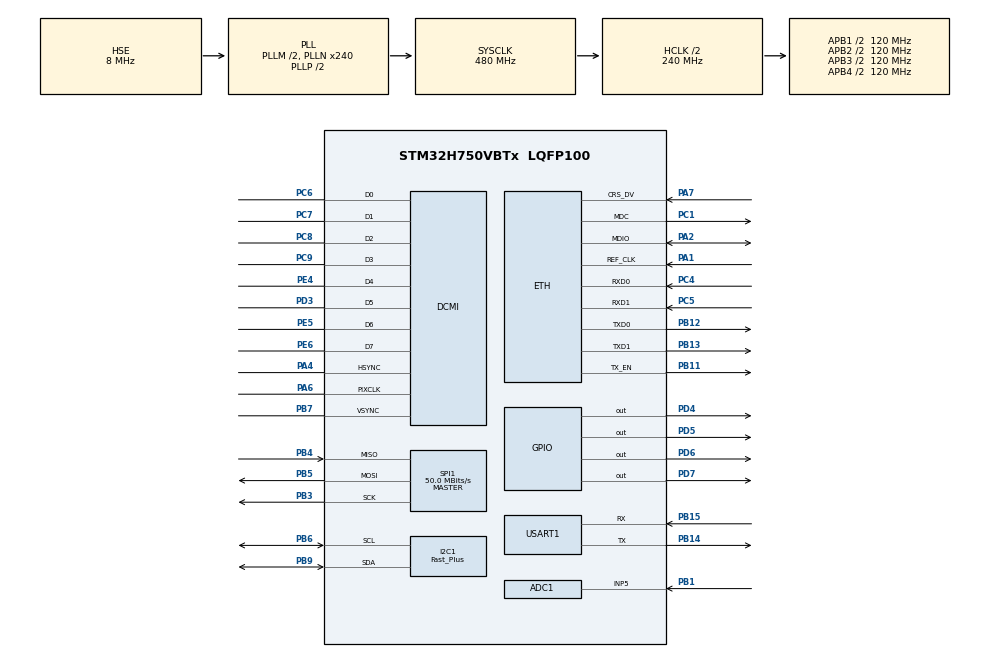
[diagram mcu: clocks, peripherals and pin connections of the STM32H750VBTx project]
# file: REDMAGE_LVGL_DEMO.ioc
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ADC1.Channel-0\#ChannelRegularConversion=ADC_CHANNEL_5
ADC1.ExternalTrigConv=ADC_EXTERNALTRIG_T2_TRGO
ADC1.NbrOfConversion=1
ADC1.NbrOfConversionFlag=1
ADC1.OffsetNumber-0\#ChannelRegularConversion=ADC_OFFSET_NONE
ADC1.OffsetSignedSaturation-0\#ChannelRegularConversion=DISABLE
ADC1.Rank-0\#ChannelRegularConversion=1
ADC1.SamplingTime-0\#ChannelRegularConversion=ADC_SAMPLETIME_1CYCLE_5
ADC1.master=1
CORTEX_M7.default_mode_Activation=1
Dma.Request0=SPI1_TX
Dma.SPI1_TX.0.Direction=DMA_MEMORY_TO_PERIPH
Dma.SPI1_TX.0.EventEnable=DISABLE
Dma.SPI1_TX.0.FIFOMode=DMA_FIFOMODE_DISABLE
Dma.SPI1_TX.0.Instance=DMA1_Stream0
Dma.SPI1_TX.0.MemDataAlignment=DMA_MDATAALIGN_BYTE
Dma.SPI1_TX.0.MemInc=DMA_MINC_ENABLE
Dma.SPI1_TX.0.Mode=DMA_NORMAL
Dma.SPI1_TX.0.PeriphDataAlignment=DMA_PDATAALIGN_BYTE
Dma.SPI1_TX.0.PeriphInc=DMA_PINC_DISABLE
Dma.SPI1_TX.0.Polarity=HAL_DMAMUX_REQ_GEN_RISING
Dma.SPI1_TX.0.Priority=DMA_PRIORITY_LOW
Dma.SPI1_TX.0.RequestNumber=1
Dma.SPI1_TX.0.SignalID=NONE
Dma.SPI1_TX.0.SyncEnable=DISABLE
Dma.SPI1_TX.0.SyncPolarity=HAL_DMAMUX_SYNC_NO_EVENT
Dma.SPI1_TX.0.SyncRequestNumber=1
Dma.SPI1_TX.0.SyncSignalID=NONE
ETH.MediaInterface=HAL_ETH_RMII_MODE
I2C1.I2C_Speed_Mode=I2C_Fast_Plus
I2C1.Timing=0x0050174F
Mcu.Family=STM32H7
Mcu.Name=STM32H750VBTx
Mcu.Package=LQFP100
NVIC.DMA1_Stream0_IRQn=true\:0\:0\:false\:false\:true\:false\:true\:true
NVIC.PriorityGroup=NVIC_PRIORITYGROUP_4
NVIC.SPI1_IRQn=true\:0\:0\:false\:false\:true\:false\:true\:true
NVIC.TIM3_IRQn=true\:0\:0\:false\:false\:true\:true\:true\:true
PA1.GPIO_Speed=GPIO_SPEED_FREQ_VERY_HIGH
PA1.Mode=RMII
PA1.Signal=ETH_REF_CLK
PA2.GPIO_Speed=GPIO_SPEED_FREQ_VERY_HIGH
PA2.Mode=RMII
PA2.Signal=ETH_MDIO
PA4.Mode=Slave_8_bits_External_Synchro
PA4.Signal=DCMI_HSYNC
PA6.Mode=Slave_8_bits_External_Synchro
PA6.Signal=DCMI_PIXCLK
PA7.GPIO_Speed=GPIO_SPEED_FREQ_VERY_HIGH
PA7.Mode=RMII
PA7.Signal=ETH_CRS_DV
PB1.Signal=ADCx_INP5
PB11.GPIO_Speed=GPIO_SPEED_FREQ_VERY_HIGH
PB11.Mode=RMII
PB11.Signal=ETH_TX_EN
PB12.GPIO_Speed=GPIO_SPEED_FREQ_VERY_HIGH
PB12.Mode=RMII
PB12.Signal=ETH_TXD0
PB13.GPIO_Speed=GPIO_SPEED_FREQ_VERY_HIGH
PB13.Mode=RMII
PB13.Signal=ETH_TXD1
PB14.GPIO_Speed=GPIO_SPEED_FREQ_VERY_HIGH
PB14.Mode=Asynchronous
PB14.Signal=USART1_TX
PB15.GPIO_Speed=GPIO_SPEED_FREQ_VERY_HIGH
PB15.Mode=Asynchronous
PB15.Signal=USART1_RX
PB3\ (JTDO/TRACESWO).GPIO_Speed=GPIO_SPEED_FREQ_VERY_HIGH
PB3\ (JTDO/TRACESWO).Mode=Full_Duplex_Master
PB3\ (JTDO/TRACESWO).Signal=SPI1_SCK
PB4\ (NJTRST).GPIO_Speed=GPIO_SPEED_FREQ_VERY_HIGH
PB4\ (NJTRST).Mode=Full_Duplex_Master
PB4\ (NJTRST).Signal=SPI1_MISO
PB5.GPIO_Speed=GPIO_SPEED_FREQ_VERY_HIGH
PB5.Mode=Full_Duplex_Master
PB5.Signal=SPI1_MOSI
PB6.GPIO_Speed=GPIO_SPEED_FREQ_VERY_HIGH
PB6.Mode=I2C
PB6.Signal=I2C1_SCL
PB7.Mode=Slave_8_bits_External_Synchro
PB7.Signal=DCMI_VSYNC
PB9.GPIO_Speed=GPIO_SPEED_FREQ_VERY_HIGH
PB9.Mode=I2C
PB9.Signal=I2C1_SDA
PC1.GPIO_Speed=GPIO_SPEED_FREQ_VERY_HIGH
PC1.Mode=RMII
PC1.Signal=ETH_MDC
PC4.GPIO_Speed=GPIO_SPEED_FREQ_VERY_HIGH
PC4.Mode=RMII
PC4.Signal=ETH_RXD0
PC5.GPIO_Speed=GPIO_SPEED_FREQ_VERY_HIGH
PC5.Mode=RMII
PC5.Signal=ETH_RXD1
PC6.Mode=Slave_8_bits_External_Synchro
PC6.Signal=DCMI_D0
PC7.Mode=Slave_8_bits_External_Synchro
PC7.Signal=DCMI_D1
PC8.Mode=Slave_8_bits_External_Synchro
PC8.Signal=DCMI_D2
PC9.Mode=Slave_8_bits_External_Synchro
PC9.Signal=DCMI_D3
PD3.Mode=Slave_8_bits_External_Synchro
PD3.Signal=DCMI_D5
PD4.GPIO_Speed=GPIO_SPEED_FREQ_VERY_HIGH
PD4.Signal=GPIO_Output
PD5.GPIO_Speed=GPIO_SPEED_FREQ_VERY_HIGH
PD5.Signal=GPIO_Output
PD6.GPIO_Speed=GPIO_SPEED_FREQ_VERY_HIGH
PD6.Signal=GPIO_Output
PD7.GPIO_Speed=GPIO_SPEED_FREQ_VERY_HIGH
PD7.Signal=GPIO_Output
PE4.Mode=Slave_8_bits_External_Synchro
PE4.Signal=DCMI_D4
PE5.Mode=Slave_8_bits_External_Synchro
PE5.Signal=DCMI_D6
PE6.Mode=Slave_8_bits_External_Synchro
PE6.Signal=DCMI_D7
PH0-OSC_IN\ (PH0).Mode=HSE-External-Oscillator
PH0-OSC_IN\ (PH0).Signal=RCC_OSC_IN
PH1-OSC_OUT\ (PH1).Mode=HSE-External-Oscillator
PH1-OSC_OUT\ (PH1).Signal=RCC_OSC_OUT
ProjectManager.HeapSize=0x200
ProjectManager.StackSize=0x400
ProjectManager.TargetToolchain=Makefile
RCC.ADCCLockSelection=RCC_ADCCLKSOURCE_PLL3
RCC.ADCFreq_Value=100000000
RCC.APB1Freq_Value=120000000
RCC.APB2Freq_Value=120000000
RCC.APB3Freq_Value=120000000
RCC.APB4Freq_Value=120000000
RCC.CortexFreq_Value=480000000
RCC.D1PPRE=RCC_APB3_DIV2
RCC.D2PPRE1=RCC_APB1_DIV2
RCC.D2PPRE2=RCC_APB2_DIV2
RCC.D3PPRE=RCC_APB4_DIV2
RCC.DIVM1=2
RCC.DIVM2=3
RCC.DIVM3=4
RCC.DIVN1=240
RCC.DIVN2=150
RCC.DIVN3=100
RCC.DIVQ1=1
RCC.HCLKFreq_Value=240000000
RCC.HPRE=RCC_HCLK_DIV2
RCC.HSE_VALUE=8000000
RCC.PLLSourceVirtual=RCC_PLLSOURCE_HSE
RCC.SPI123CLockSelection=RCC_SPI123CLKSOURCE_PLL2
RCC.SYSCLKFreq_VALUE=480000000
RCC.SYSCLKSource=RCC_SYSCLKSOURCE_PLLCLK
RCC.USBFreq_Value=960000000
SH.ADCx_INP5.0=ADC1_INP5,IN5-Single-Ended
SPI1.BaudRatePrescaler=SPI_BAUDRATEPRESCALER_4
SPI1.CalculateBaudRate=50.0 MBits/s
SPI1.DataSize=SPI_DATASIZE_8BIT
SPI1.Direction=SPI_DIRECTION_2LINES
SPI1.Mode=SPI_MODE_MASTER
SPI1.VirtualType=VM_MASTER
TIM3.AutoReloadPreload=TIM_AUTORELOAD_PRELOAD_ENABLE
TIM3.ClockDivision=TIM_CLOCKDIVISION_DIV2
TIM3.CounterMode=TIM_COUNTERMODE_DOWN
TIM3.Period=999
TIM3.Prescaler=239
USART1.VirtualMode-Asynchronous=VM_ASYNC
VP_MEMORYMAP_VS_MEMORYMAP.Mode=CurAppReg
VP_TIM2_VS_ClockSourceINT.Mode=Internal
VP_TIM3_VS_ClockSourceINT.Mode=Internal
board=custom

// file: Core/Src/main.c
/* USER CODE BEGIN Header */
/**
 ******************************************************************************
 * @file           : main.c
 * @brief          : Main program body
 ******************************************************************************
 * @attention
 *
 * Copyright (c) 2025 STMicroelectronics.
 * All rights reserved.
 *
 * This software is licensed under terms that can be found in the LICENSE file
 * in the root directory of this software component.
 * If no LICENSE file comes with this software, it is provided AS-IS.
 *
 ******************************************************************************
 */
/* USER CODE END Header */
#include "main.h"
#include "adc.h"
#include "dcmi.h"
#include "demos/benchmark/lv_demo_benchmark.h"
#include "dma.h"
#include "eth.h"
#include "gpio.h"
#include "i2c.h"
#include "lv_btn.h"
#include "lv_checkbox.h"
#include "lv_color.h"
#include "lv_disp.h"
#include "lv_hal_disp.h"
#include "lv_label.h"
#include "lv_log.h"
#include "lv_obj.h"
#include "lv_obj_pos.h"
#include "lv_switch.h"
#include "lv_timer.h"
#include "memorymap.h"
#include "spi.h"
#include "src/extra/widgets/led/lv_led.h"
#include "src/tick/lv_tick.h"
#include "stm32h7xx_hal.h"
#include "stm32h7xx_hal_uart.h"
#include "tim.h"
#include "usart.h"

/* USER CODE BEGIN Includes */
#include "driver_genericLCD.h"
#include "wldtool_str.h"
#include <stdint.h>

/* USER CODE END Includes */

/* USER CODE BEGIN PTD */
#define BUFF_SIZE (320 * 10 * 2)
static uint8_t buf_1[BUFF_SIZE];
static uint8_t buf_2[BUFF_SIZE];
int test = 0;

/* USER CODE END PTD */

/* USER CODE BEGIN PM */

void wld_flush_cb(lv_disp_drv_t *disp_drv, const lv_area_t *area,
                  lv_color_t *color_p) {
  /*The most simple case (but also the slowest) to put all pixels to the screen
   *one-by-one `put_px` is just an example, it needs to implemented by you.*/
  int32_t x, y;
  lcd_generic_address_set(area->x1, area->y1, area->x2, area->y2);
  for (y = area->y1; y <= area->y2; y++) {
    for (x = area->x1; x <= area->x2; x++) {

      lcd_generic_writecolor(color_p->full);
      // lcd_generic_drawpoint(x, y, color_p->full);
      color_p++;
    }
  }

  /* IMPORTANT!!!
   * Inform the graphics library that you are ready with the flushing*/
  lv_disp_flush_ready(disp_drv);
}

// void static wld_flush_cb(lv_display_t *display, const lv_area_t *area,
// uint8_t *px_map) {
///* The most simple case (also the slowest) to send all rendered pixels to the
//* screen one-by-one.  `put_px` is just an example.  It needs to be
//* implemented by you. */
// uint16_t *buf16 =
//(uint16_t *)px_map; /* Let's say it's a 16 bit (RGB565) display */
// int32_t x, y;
// for (y = area->y1; y <= area->y2; y++) {
// for (x = area->x1; x <= area->x2; x++) {
// lcd_generic_drawpoint(x, y, *buf16);
//// wldlcd_draw_point(x, y, *buf16);
// buf16++;
//}
//}
//
//
///* IMPORTANT!!!
//* Inform LVGL that flushing is complete so buffer can be modified again. */
// lv_display_flush_ready(display);
// }
void dialog_u1_8b(char data) {
  uint16_t udelay = 0;
  while (!(USART1->ISR & 0x40)) {
    udelay++;
    if (udelay > 60000)
      return;
  }
  USART1->TDR = data;
}
void my_log_cb(const char *buf) {
  while (*buf != 0) {
    dialog_u1_8b(*buf);
    buf++;
  }
  dialog_u1_8b('\r');
}

/* USER CODE END PM */

void SystemClock_Config(void);
static void MPU_Config(void);

int main(void) {

  /* MPU Configuration--------------------------------------------------------*/
  MPU_Config();

  /* MCU Configuration--------------------------------------------------------*/

  /* Reset of all peripherals, Initializes the Flash interface and the Systick.
   */
  HAL_Init();

  /* Configure the system clock */
  SystemClock_Config();

  /* Initialize all configured peripherals */
  MX_GPIO_Init();
  MX_DMA_Init();
  MX_I2C1_Init();
  MX_SPI1_Init();
  MX_TIM2_Init();
  MX_ADC1_Init();
  MX_ETH_Init();
  MX_TIM3_Init();
  MX_DCMI_Init();
  MX_USART1_UART_Init();
  /* USER CODE BEGIN 2 */
  HAL_NVIC_EnableIRQ(TIM3_IRQn);
  uint8_t spi_idk = 0;
  HAL_SPI_Transmit(&hspi1, &spi_idk, 1, 100);
  TIM3->CR1 |= 1;
  TIM3->DIER |= 1;
  lcd_generic_init();
  lcd_generic_fullscreencolor(0xffff);
  lv_init();
  lv_log_register_print_cb(my_log_cb);
  static lv_disp_draw_buf_t disp_buf;

  /*Static or global buffer(s). The second buffer is optional*/
  static lv_color_t buf_1[320 * 10];
  static lv_color_t buf_2[320 * 10];

  /*Initialize `disp_buf` with the buffer(s). With only one buffer use NULL
   * instead buf_2 */
  lv_disp_draw_buf_init(&disp_buf, buf_1, buf_2, 320 * 10);

  static lv_disp_drv_t
      disp_drv; /*A variable to hold the drivers. Must be static or global.*/
  lv_disp_drv_init(&disp_drv);   /*Basic initialization*/
  disp_drv.draw_buf = &disp_buf; /*Set an initialized buffer*/
  disp_drv.flush_cb = wld_flush_cb;
  disp_drv.hor_res = 320; /*Set the horizontal resolution in pixels*/
  disp_drv.ver_res = 240; /*Set the vertical resolution in pixels*/

  lv_disp_t *disp = lv_disp_drv_register(&disp_drv);
  lv_obj_t *screen = lv_disp_get_scr_act(disp);
  lv_scr_load(screen);
  // lv_obj_t *led = lv_led_create(screen);
  //  lv_obj_set_x(led, 10);
  //  lv_obj_set_y(led, 10);
  //  lv_obj_set_size(led, 10, 10);
  //  lv_obj_t *label = lv_label_create(screen);
  //  lv_obj_set_x(label, 50);
  //  lv_obj_set_y(label, 50);
  //  lv_obj_set_size(label, 100, 30);
  //  lv_label_set_text(label, "WTF LVGL");
  //  lv_obj_t *cb = lv_checkbox_create(screen);
  //  lv_obj_set_x(cb, 0);
  //  lv_obj_set_y(cb, 80);
  //  lv_obj_t *sw = lv_switch_create(screen);
  //  lv_obj_set_x(sw, 0);
  //  lv_obj_set_y(sw, 80);
  //  lv_obj_add_state(sw, LV_STATE_CHECKED);

  /* USER CODE END 2 */

  /* Infinite loop */
  /* USER CODE BEGIN WHILE */
  int test = 0;
  lv_demo_benchmark();
  while (1) {

    // lv_obj_add_state(sw, LV_STATE_CHECKED);
    lv_timer_handler();
    // lv_obj_clear_state(sw, LV_STATE_CHECKED);
    // lv_timer_handler();

    /* USER CODE END WHILE */
    // lv_log("confused1\r\n");
    // lv_timer_handler();
    // lv_log("confused2\r\n");

  }
}

void SystemClock_Config(void) {
  RCC_OscInitTypeDef RCC_OscInitStruct = {0};
  RCC_ClkInitTypeDef RCC_ClkInitStruct = {0};

  /** Supply configuration update enable
   */
  HAL_PWREx_ConfigSupply(PWR_LDO_SUPPLY);

  /** Configure the main internal regulator output voltage
   */
  __HAL_PWR_VOLTAGESCALING_CONFIG(PWR_REGULATOR_VOLTAGE_SCALE1);

  while (!__HAL_PWR_GET_FLAG(PWR_FLAG_VOSRDY)) {
  }

  __HAL_RCC_SYSCFG_CLK_ENABLE();
  __HAL_PWR_VOLTAGESCALING_CONFIG(PWR_REGULATOR_VOLTAGE_SCALE0);

  while (!__HAL_PWR_GET_FLAG(PWR_FLAG_VOSRDY)) {
  }

  /** Initializes the RCC Oscillators according to the specified parameters
   * in the RCC_OscInitTypeDef structure.
   */
  RCC_OscInitStruct.OscillatorType = RCC_OSCILLATORTYPE_HSE;
  RCC_OscInitStruct.HSEState = RCC_HSE_ON;
  RCC_OscInitStruct.PLL.PLLState = RCC_PLL_ON;
  RCC_OscInitStruct.PLL.PLLSource = RCC_PLLSOURCE_HSE;
  RCC_OscInitStruct.PLL.PLLM = 2;
  RCC_OscInitStruct.PLL.PLLN = 240;
  RCC_OscInitStruct.PLL.PLLP = 2;
  RCC_OscInitStruct.PLL.PLLQ = 1;
  RCC_OscInitStruct.PLL.PLLR = 2;
  RCC_OscInitStruct.PLL.PLLRGE = RCC_PLL1VCIRANGE_2;
  RCC_OscInitStruct.PLL.PLLVCOSEL = RCC_PLL1VCOWIDE;
  RCC_OscInitStruct.PLL.PLLFRACN = 0;
  if (HAL_RCC_OscConfig(&RCC_OscInitStruct) != HAL_OK) {
    Error_Handler();
  }

  /** Initializes the CPU, AHB and APB buses clocks
   */
  RCC_ClkInitStruct.ClockType = RCC_CLOCKTYPE_HCLK | RCC_CLOCKTYPE_SYSCLK |
                                RCC_CLOCKTYPE_PCLK1 | RCC_CLOCKTYPE_PCLK2 |
                                RCC_CLOCKTYPE_D3PCLK1 | RCC_CLOCKTYPE_D1PCLK1;
  RCC_ClkInitStruct.SYSCLKSource = RCC_SYSCLKSOURCE_PLLCLK;
  RCC_ClkInitStruct.SYSCLKDivider = RCC_SYSCLK_DIV1;
  RCC_ClkInitStruct.AHBCLKDivider = RCC_HCLK_DIV2;
  RCC_ClkInitStruct.APB3CLKDivider = RCC_APB3_DIV2;
  RCC_ClkInitStruct.APB1CLKDivider = RCC_APB1_DIV2;
  RCC_ClkInitStruct.APB2CLKDivider = RCC_APB2_DIV2;
  RCC_ClkInitStruct.APB4CLKDivider = RCC_APB4_DIV2;

  if (HAL_RCC_ClockConfig(&RCC_ClkInitStruct, FLASH_LATENCY_4) != HAL_OK) {
    Error_Handler();
  }
}

/* USER CODE BEGIN 4 */
void HAL_TIM_PeriodElapsedCallback(TIM_HandleTypeDef *htim) { test++; }
/* USER CODE END 4 */

/* MPU Configuration */

void MPU_Config(void) {
  MPU_Region_InitTypeDef MPU_InitStruct = {0};

  /* Disables the MPU */
  HAL_MPU_Disable();

  /** Initializes and configures the Region and the memory to be protected
   */
  MPU_InitStruct.Enable = MPU_REGION_ENABLE;
  MPU_InitStruct.Number = MPU_REGION_NUMBER0;
  MPU_InitStruct.BaseAddress = 0x0;
  MPU_InitStruct.Size = MPU_REGION_SIZE_4GB;
  MPU_InitStruct.SubRegionDisable = 0x87;
  MPU_InitStruct.TypeExtField = MPU_TEX_LEVEL0;
  MPU_InitStruct.AccessPermission = MPU_REGION_NO_ACCESS;
  MPU_InitStruct.DisableExec = MPU_INSTRUCTION_ACCESS_DISABLE;
  MPU_InitStruct.IsShareable = MPU_ACCESS_SHAREABLE;
  MPU_InitStruct.IsCacheable = MPU_ACCESS_NOT_CACHEABLE;
  MPU_InitStruct.IsBufferable = MPU_ACCESS_NOT_BUFFERABLE;

  HAL_MPU_ConfigRegion(&MPU_InitStruct);
  /* Enables the MPU */
  HAL_MPU_Enable(MPU_PRIVILEGED_DEFAULT);
}

void Error_Handler(void) {
  __disable_irq();
  while (1) {
  }
}

#ifdef USE_FULL_ASSERT
/**
 * @brief  Reports the name of the source file and the source line number
 *         where the assert_param error has occurred.
 * @param  file: pointer to the source file name
 * @param  line: assert_param error line source number
 * @retval None
 */
void assert_failed(uint8_t *file, uint32_t line) {
  /* USER CODE BEGIN 6 */
  /* User can add his own implementation to report the file name and line
     number, ex: printf("Wrong parameters value: file %s on line %d\r\n", file,
     line) */
  /* USER CODE END 6 */
}
#endif /* USE_FULL_ASSERT */
